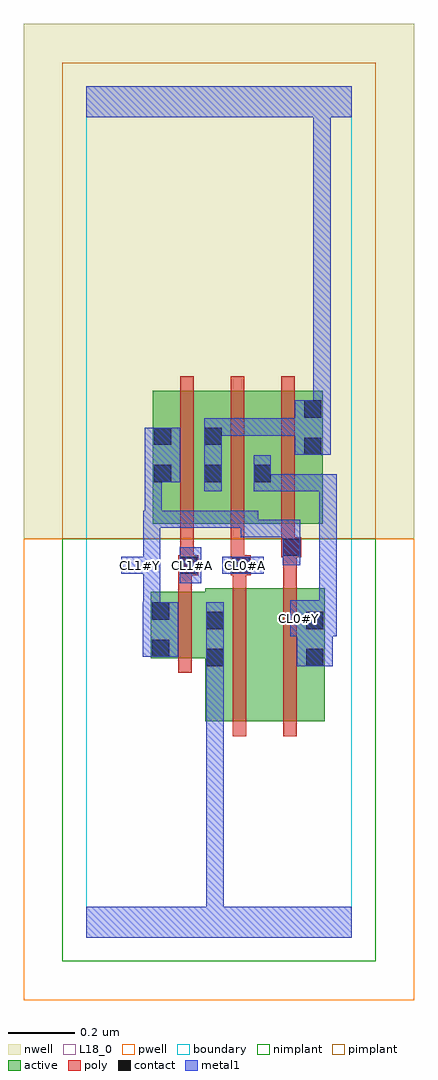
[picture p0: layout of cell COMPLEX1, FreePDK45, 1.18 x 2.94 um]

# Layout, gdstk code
import gdstk
lib = gdstk.Library(unit=1e-6, precision=1e-09)
def R(c, l, rs):  # rectangles x0, y0, x1, y1
    for r in rs: c.add(gdstk.rectangle(r[:2], r[2:], *l))
def A(c, l, x, y, w, h, nx, ny, dx, dy):  # array of equal rectangles
    R(c, l, [(x+i*dx, y+j*dy, x+i*dx+w, y+j*dy+h) for i in range(nx) for j in range(ny)])
active = (1, 0)
pwell = (2, 0)
nwell = (3, 0)
nimplant = (4, 0)
pimplant = (5, 0)
poly = (9, 0)
contact = (10, 0)
metal1 = (11, 0)
L18_0 = (18, 0)
boundary = (235, 0)

complex1 = lib.new_cell('COMPLEX1')
R(complex1, active, [(0.358,0.65,0.538,1.05), (0.538,0.65,0.718,1.05), (0.658,0.756,0.718,1.05), (0.358,0.812,0.418,1.012), (0.194,0.84,0.254,1.04), (0.194,0.84,0.418,1.04), (0.2,1.244,0.26,1.644), (0.2,1.244,0.412,1.644), (0.352,1.244,0.56,1.644), (0.5,1.244,0.712,1.644), (0.652,1.244,0.712,1.644), (0.352,1.366,0.412,1.644), (0.5,1.366,0.56,1.644)])
R(complex1, pwell, [(-0.188,-0.188,0.988,1.2)])
R(complex1, nwell, [(-0.188,1.2,0.988,2.748)])
R(complex1, nimplant, [(-0.072,-0.072,0.872,1.2)])
R(complex1, pimplant, [(-0.072,1.2,0.872,2.632)])
A(complex1, poly, 0.284, 1.2, 0.04, 0.488, 3, 1, 0.152, 0)
R(complex1, poly, [(0.442,0.606,0.482,1.094), (0.594,0.606,0.634,1.094), (0.278,0.796,0.318,1.084), (0.278,1.044,0.318,1.13), (0.442,1.054,0.482,1.13), (0.594,1.054,0.634,1.184), (0.278,1.09,0.338,1.15), (0.436,1.09,0.496,1.15), (0.284,1.11,0.324,1.15), (0.284,1.11,0.324,1.15), (0.284,1.11,0.324,1.24), (0.436,1.11,0.476,1.15), (0.436,1.11,0.476,1.15), (0.436,1.11,0.476,1.24), (0.588,1.144,0.648,1.204), (0.594,1.144,0.634,1.184), (0.594,1.144,0.634,1.184), (0.588,1.164,0.628,1.24)])
R(complex1, contact, [(0.362,0.816,0.414,0.868), (0.662,0.816,0.714,0.868), (0.198,0.844,0.25,0.896), (0.362,0.928,0.414,0.98), (0.662,0.928,0.714,0.98), (0.198,0.956,0.25,1.008), (0.282,1.094,0.334,1.146), (0.44,1.094,0.492,1.146), (0.592,1.148,0.644,1.2), (0.204,1.37,0.256,1.422), (0.356,1.37,0.408,1.422), (0.504,1.37,0.556,1.422), (0.656,1.452,0.708,1.504), (0.204,1.482,0.256,1.534), (0.356,1.482,0.408,1.534), (0.656,1.564,0.708,1.616)])
R(complex1, metal1, [(0,0,0.8,0.092), (0.362,0.04,0.414,0.092), (0.362,0.04,0.414,0.092), (0.362,0.04,0.414,0.092), (0.362,0.04,0.414,0.092), (0.362,0.04,0.414,0.092), (0.362,0.04,0.414,0.092), (0.362,0.04,0.414,0.092), (0.362,0.04,0.414,0.092), (0.362,0.04,0.414,0.092), (0.362,0.04,0.414,0.092), (0.362,0.04,0.414,0.092), (0.362,0.04,0.414,0.092), (0.362,0.04,0.414,0.84), (0.362,0.788,0.414,1.008), (0.634,0.816,0.742,0.98), (0.17,0.844,0.278,1.008), (0.614,0.906,0.754,1.014), (0.634,0.906,0.686,0.958), (0.172,0.956,0.224,1.146), (0.702,0.962,0.754,1.014), (0.702,0.962,0.754,1.014), (0.702,0.962,0.754,1.394), (0.282,1.066,0.346,1.174), (0.106,1.094,0.224,1.146), (0.172,1.094,0.224,1.284), (0.41,1.094,0.534,1.146), (0.592,1.12,0.644,1.256), (0.466,1.204,0.644,1.256), (0.466,1.204,0.518,1.284), (0.172,1.232,0.228,1.284), (0.176,1.232,0.228,1.284), (0.176,1.232,0.228,1.284), (0.176,1.232,0.408,1.284), (0.176,1.232,0.228,1.422), (0.356,1.232,0.408,1.284), (0.356,1.232,0.408,1.284), (0.356,1.232,0.408,1.284), (0.356,1.232,0.518,1.284), (0.356,1.342,0.408,1.562), (0.504,1.342,0.754,1.394), (0.504,1.342,0.556,1.45), (0.702,1.342,0.754,1.394), (0.702,1.342,0.754,1.394), (0.702,1.342,0.754,1.394), (0.176,1.37,0.284,1.534), (0.628,1.452,0.736,1.616), (0.356,1.51,0.408,1.562), (0.356,1.51,0.408,1.562), (0.356,1.51,0.518,1.562), (0.466,1.51,0.518,1.562), (0.466,1.51,0.68,1.562), (0.628,1.51,0.68,1.562), (0.628,1.51,0.68,1.562), (0.684,1.564,0.736,1.616), (0.684,1.564,0.736,1.616), (0.684,1.564,0.736,1.616), (0.684,1.564,0.736,1.616), (0.684,1.564,0.736,1.616), (0.684,1.564,0.736,1.616), (0.684,1.564,0.736,1.616), (0.684,1.564,0.736,1.616), (0.684,1.564,0.736,1.616), (0.684,1.564,0.736,1.616), (0.684,1.564,0.736,2.52), (0,2.468,0.8,2.56), (0.684,2.468,0.736,2.52), (0.684,2.468,0.736,2.52), (0.684,2.468,0.736,2.52), (0.684,2.468,0.736,2.52), (0.684,2.468,0.736,2.52), (0.684,2.468,0.736,2.52)])
A(complex1, L18_0, 0.134, 1.094, 0.052, 0.052, 3, 1, 0.16, 0)
R(complex1, L18_0, [(0,0,0.8,0.092), (0.362,0.04,0.414,0.092), (0.362,0.04,0.414,0.092), (0.362,0.04,0.414,0.092), (0.362,0.04,0.414,0.092), (0.362,0.04,0.414,0.092), (0.362,0.04,0.414,0.092), (0.362,0.04,0.414,0.092), (0.362,0.04,0.414,0.092), (0.362,0.04,0.414,0.092), (0.362,0.04,0.414,0.092), (0.362,0.04,0.414,0.092), (0.362,0.04,0.414,0.092), (0.362,0.04,0.414,0.84), (0.362,0.788,0.414,1.008), (0.634,0.816,0.742,0.98), (0.17,0.844,0.278,1.008), (0.614,0.906,0.754,1.014), (0.634,0.906,0.686,0.958), (0.614,0.934,0.666,0.986), (0.172,0.956,0.224,1.146), (0.702,0.962,0.754,1.014), (0.702,0.962,0.754,1.014), (0.702,0.962,0.754,1.394), (0.282,1.066,0.346,1.174), (0.106,1.094,0.224,1.146), (0.172,1.094,0.224,1.284), (0.41,1.094,0.534,1.146), (0.592,1.12,0.644,1.256), (0.466,1.204,0.518,1.284), (0.466,1.204,0.644,1.256), (0.172,1.232,0.228,1.284), (0.176,1.232,0.228,1.422), (0.176,1.232,0.228,1.284), (0.176,1.232,0.228,1.284), (0.176,1.232,0.408,1.284), (0.356,1.232,0.408,1.284), (0.356,1.232,0.408,1.284), (0.356,1.232,0.408,1.284), (0.356,1.232,0.518,1.284), (0.356,1.342,0.408,1.562), (0.504,1.342,0.556,1.45), (0.504,1.342,0.754,1.394), (0.702,1.342,0.754,1.394), (0.702,1.342,0.754,1.394), (0.702,1.342,0.754,1.394), (0.176,1.37,0.284,1.534), (0.628,1.452,0.736,1.616), (0.356,1.51,0.408,1.562), (0.356,1.51,0.408,1.562), (0.356,1.51,0.518,1.562), (0.466,1.51,0.518,1.562), (0.466,1.51,0.68,1.562), (0.628,1.51,0.68,1.562), (0.628,1.51,0.68,1.562), (0.684,1.564,0.736,1.616), (0.684,1.564,0.736,1.616), (0.684,1.564,0.736,1.616), (0.684,1.564,0.736,1.616), (0.684,1.564,0.736,1.616), (0.684,1.564,0.736,1.616), (0.684,1.564,0.736,1.616), (0.684,1.564,0.736,1.616), (0.684,1.564,0.736,1.616), (0.684,1.564,0.736,1.616), (0.684,1.564,0.736,2.52), (0,2.468,0.8,2.56), (0.684,2.468,0.736,2.52), (0.684,2.468,0.736,2.52), (0.684,2.468,0.736,2.52), (0.684,2.468,0.736,2.52), (0.684,2.468,0.736,2.52), (0.684,2.468,0.736,2.52)])
R(complex1, boundary, [(0,0,0.8,2.56)])
complex1.add(gdstk.Label('CL0#A', (0.48,1.12), layer=11, texttype=0))
complex1.add(gdstk.Label('CL0#Y', (0.64,0.96), layer=11, texttype=0))
complex1.add(gdstk.Label('CL1#A', (0.32,1.12), layer=11, texttype=0))
complex1.add(gdstk.Label('CL1#Y', (0.16,1.12), layer=11, texttype=0))

lib.write_gds('COMPLEX1.gds')
